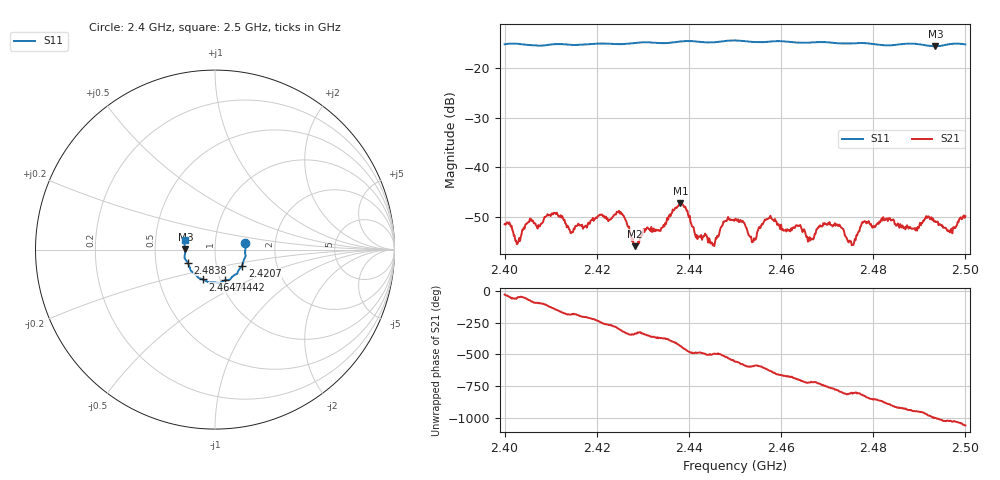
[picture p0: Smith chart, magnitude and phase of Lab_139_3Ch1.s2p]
# Hz S RI R 50
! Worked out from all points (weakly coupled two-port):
!   601 points, 2.4 GHz to 2.5 GHz, reference 50 ohm
!   highest |S21| = -47.24 dB at 2.4382 GHz (marker M1); lowest = -55.9 dB at 2.4283 GHz (marker M2)
!   lowest |S11| = -15.6 dB at 2.4935 GHz (marker M3), VSWR 1.40, Z = 35.8 + j0.131 ohm
!   |S11| at or under -10 dB: start of sweep to end of sweep
!   S12 and S22 are empty: the file has one direction only
!   S11 on the Smith chart (normalised r, x): 2.4 GHz: 1.40, +0.11; 2.4207 GHz: 1.33, -0.24; 2.4442 GHz: 1.05, -0.37; 2.4647 GHz: 0.83, -0.29; 2.4838 GHz: 0.73, -0.11; 2.5 GHz: 0.71, +0.08
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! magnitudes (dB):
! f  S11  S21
! 2.4 GHz  -15.2  -51.5
! 2.4028 GHz  -15.1  -55.3
! 2.4107 GHz  -15.2  -49.2
! 2.4167 GHz  -15.3  -51.8
! 2.4207 GHz  -15.1  -49.5
! 2.4253 GHz  -15.2  -49.4
! 2.4283 GHz  -15.0  -55.9
! 2.4333 GHz  -15.0  -52.6
! 2.4382 GHz  -14.7  -47.2
! 2.4442 GHz  -14.9  -55.2
! 2.45 GHz  -14.5  -50.5
! 2.454 GHz  -14.8  -54.9
! 2.4573 GHz  -14.7  -50.3
! 2.4647 GHz  -14.9  -53.1
! 2.4667 GHz  -14.9  -54.5
! 2.47 GHz  -14.8  -51.6
! 2.4757 GHz  -15.0  -55.7
! 2.4778 GHz  -15.0  -51.1
! 2.4833 GHz  -15.5  -50.3
! 2.4838 GHz  -15.4  -50.7
! 2.4935 GHz  -15.6  -50.9
! 2.5 GHz  -15.2  -49.9
